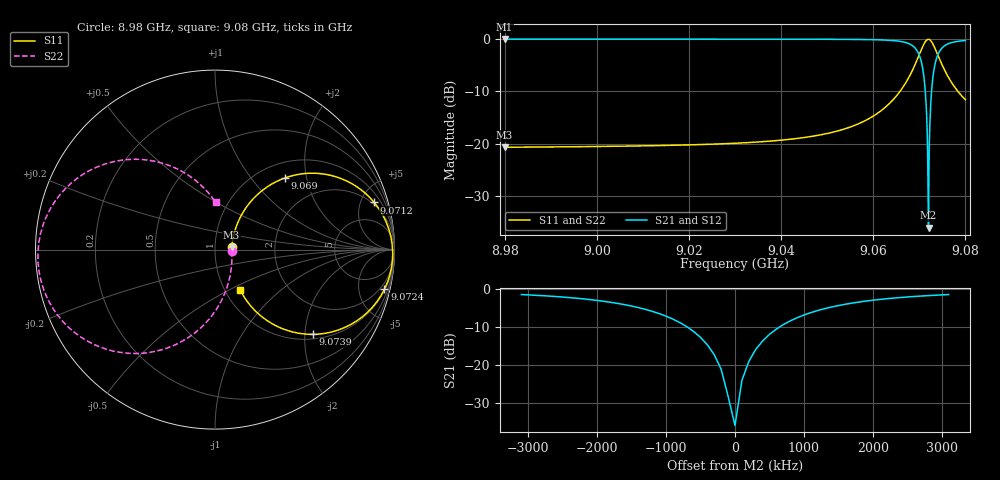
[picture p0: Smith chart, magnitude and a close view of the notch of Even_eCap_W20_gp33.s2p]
! Sonnet Data File
! From: emgraph Version : 16.52
! From Project: Resonator2_extremeCap
! Data is De-embedded
! Data File Written: 10/10/2017 20:29:21
!< HDATE 10/09/2017 23:04:37
!< MDATE 10/09/2017 23:04:37
!< PARAMS
!< Pwid1 = 2000.0
!< Pwid2 = 2000.0
!< Air_gap = 12.0
!< Width = 20.0
!< Gap = 33.0
!< END PARAMS
# GHZ S MA R 51.80000
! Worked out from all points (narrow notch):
!   1001 points, 8.98 GHz to 9.08 GHz, reference 51.8 ohm
!   highest |S21| = -0.04 dB at 8.98 GHz (marker M1); lowest = -36.0 dB at 9.072 GHz (marker M2)
!   notch at M2: 35.9 dB deep, 521 kHz wide at half that depth
!   lowest |S11| = -20.6 dB at 8.98 GHz (marker M3), VSWR 1.20, Z = 62.3 + j1.54 ohm
!   |S11| at or under -10 dB: start of sweep to 9.0658 GHz; 9.078374 GHz to end of sweep
!   |S22| runs from -20.6 to -0.1 dB; largest |S21 - S12| = 0
!   S11 on the Smith chart (normalised r, x): 8.98 GHz: 1.20, +0.03; 9.069 GHz: 1.29, +1.50; 9.0712 GHz: 1.76, +6.42; 9.0724 GHz: 1.15, -8.50; 9.0739 GHz: 1.12, -2.20; 9.08 GHz: 1.18, -0.57
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8.98  0.09287 7.6  0.9957 -88.8  0.9957 -88.8  0.09286 -5.1
!< P1 F=8.98 Eeff=(6.44620984 -2.9718e-5) Z0=(50.9069029 1.17456e-4) R=0.0 C=0.0
!< P2 F=8.98 Eeff=(6.44620984 -2.9718e-5) Z0=(50.9069029 1.17456e-4) R=0.0 C=0.0
8.9967  0.09412 10.0  0.9956 -89.2  0.9956 -89.2  0.09411 -8.4
9.0134  0.09636 13.7  0.9953 -89.8  0.9953 -89.8  0.09634 -13.3
9.03  0.1014 20.0  0.9948 -90.8  0.9948 -90.8  0.1014 -21.5
9.0467  0.118 32.0  0.993 -92.7  0.993 -92.7  0.1179 -37.5
9.0565  0.1535 43.7  0.988 -95.7  0.988 -95.7  0.1533 -55.1
9.0634  0.2398 52.5  0.9703 -101.5  0.9703 -101.5  0.2393 -75.8
9.0669  0.3721 52.7  0.9268 -109.9  0.9268 -109.9  0.3714 -93.0
9.069  0.5588 45.7  0.8257 -122.3  0.8257 -122.3  0.5577 -111.1
9.0704  0.7821 31.4  0.6137 -140.0  0.6137 -140.0  0.7806 -132.9
9.0709  0.8751 22.8  0.4687 -149.6  0.4687 -149.6  0.8733 -144.2
9.0712  0.9252 16.5  0.3573 -156.2  0.3573 -156.2  0.9234 -152.0
9.0716  0.9741 7.1  0.1822 -165.1  0.1822 -165.1  0.9722 -163.6
9.072  0.9905 -3.1  0.01594 -39.8  0.01594 -39.8  0.9886 -175.9
9.0724  0.9697 -13.2  0.2047 -13.5  0.2047 -13.5  0.9678 171.9
9.0726  0.947 -17.9  0.2936 -17.9  0.2936 -17.9  0.9452 166.0
9.0729  0.9021 -24.5  0.4133 -24.6  0.4133 -24.6  0.9004 157.9
9.0733  0.8311 -32.1  0.5443 -32.9  0.5443 -32.9  0.8295 148.2
9.0739  0.7223 -40.8  0.6846 -42.9  0.6846 -42.9  0.7209 136.3
9.0749  0.5717 -49.9  0.8168 -54.4  0.8168 -54.4  0.5706 122.0
9.0761  0.4481 -55.4  0.892 -62.8  0.892 -62.8  0.4472 110.4
9.08  0.2633 -58.0  0.9641 -74.6  0.9641 -74.6  0.2629 89.1
